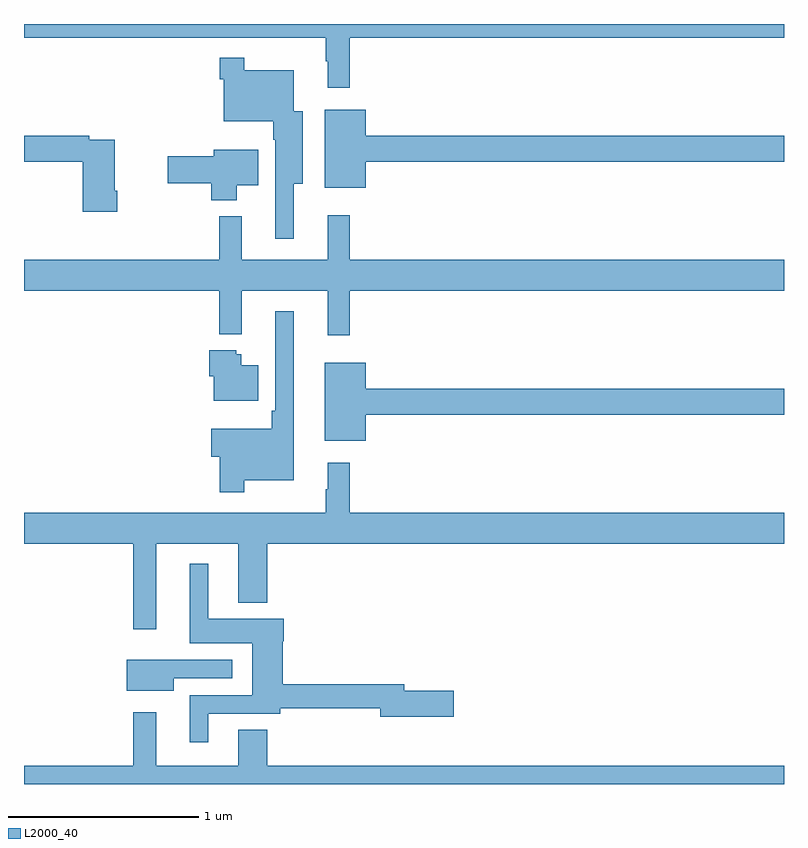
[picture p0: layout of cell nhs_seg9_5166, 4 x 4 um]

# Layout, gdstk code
import gdstk
lib = gdstk.Library(unit=1e-6, precision=1e-09)
def P(c, l, *ps):  # polygons
    for p in ps: c.add(gdstk.Polygon(p, *l))
L2000_40 = (2000, 40)

nhs_seg9_5166 = lib.new_cell('nhs_seg9_5166')
P(nhs_seg9_5166, L2000_40, [(412.715,1188.428),(415,1188.428),(415,1188.5),(411,1188.5),(411,1188.428),(412.587,1188.428),(412.587,1188.305),(412.598,1188.305),(412.598,1188.165),(412.715,1188.165)],
  [(412.421,1187.66),(412.468,1187.66),(412.468,1188.04),(412.42,1188.04),(412.42,1188.256),(412.159,1188.256),(412.159,1188.322),(412.03,1188.322),(412.03,1188.209),(412.05,1188.209),(412.05,1187.987),(412.311,1187.987),(412.311,1187.891),(412.323,1187.891),(412.323,1187.37),(412.421,1187.37)],
  [(412.798,1187.776),(415,1187.776),(415,1187.912),(412.798,1187.912),(412.798,1188.049),(412.583,1188.049),(412.583,1187.639),(412.798,1187.639)],
  [(411.491,1187.623),(411.478,1187.623),(411.478,1187.892),(411.344,1187.892),(411.344,1187.912),(411,1187.912),(411,1187.776),(411.308,1187.776),(411.308,1187.511),(411.491,1187.511)],
  [(412.12,1187.651),(412.234,1187.651),(412.234,1187.839),(411.998,1187.839),(411.998,1187.804),(411.756,1187.804),(411.756,1187.662),(411.986,1187.662),(411.986,1187.573),(412.12,1187.573)],
  [(412.715,1187.096),(415,1187.096),(415,1187.26),(412.715,1187.26),(412.715,1187.494),(412.598,1187.494),(412.598,1187.26),(412.145,1187.26),(412.145,1187.488),(412.027,1187.488),(412.027,1187.26),(411,1187.26),(411,1187.096),(412.027,1187.096),(412.027,1186.868),(412.145,1186.868),(412.145,1187.096),(412.598,1187.096),(412.598,1186.863),(412.715,1186.863)],
  [(412.159,1186.1),(412.42,1186.1),(412.42,1186.987),(412.323,1186.987),(412.323,1186.465),(412.303,1186.465),(412.303,1186.369),(411.986,1186.369),(411.986,1186.222),(412.03,1186.222),(412.03,1186.035),(412.159,1186.035)],
  [(412.234,1186.705),(412.144,1186.705),(412.144,1186.761),(412.116,1186.761),(412.116,1186.783),(411.974,1186.783),(411.974,1186.647),(411.998,1186.647),(411.998,1186.517),(412.234,1186.517)],
  [(412.798,1186.444),(415,1186.444),(415,1186.58),(412.798,1186.58),(412.798,1186.717),(412.583,1186.717),(412.583,1186.307),(412.798,1186.307)],
  [(411.697,1185.764),(412.127,1185.764),(412.127,1185.455),(412.28,1185.455),(412.28,1185.764),(415,1185.764),(415,1185.928),(412.715,1185.928),(412.715,1186.192),(412.598,1186.192),(412.598,1186.052),(412.587,1186.052),(412.587,1185.928),(411,1185.928),(411,1185.764),(411.576,1185.764),(411.576,1185.315),(411.697,1185.315)],
  [(411.97,1184.871),(412.348,1184.871),(412.348,1184.898),(412.874,1184.898),(412.874,1184.855),(413.263,1184.855),(413.263,1184.99),(413.002,1184.99),(413.002,1185.026),(412.361,1185.026),(412.361,1185.252),(412.366,1185.252),(412.366,1185.37),(411.97,1185.37),(411.97,1185.658),(411.872,1185.658),(411.872,1185.242),(412.202,1185.242),(412.202,1184.967),(411.872,1184.967),(411.872,1184.721),(411.97,1184.721)],
  [(411.787,1185.057),(412.096,1185.057),(412.096,1185.153),(411.783,1185.153),(411.783,1185.154),(411.542,1185.154),(411.542,1184.99),(411.787,1184.99)],
  [(415,1184.596),(412.28,1184.596),(412.28,1184.786),(412.127,1184.786),(412.127,1184.596),(411.697,1184.596),(411.697,1184.878),(411.576,1184.878),(411.576,1184.596),(411,1184.596),(411,1184.5),(415,1184.5)])

lib.write_gds('nhs_seg9_5166.gds')
